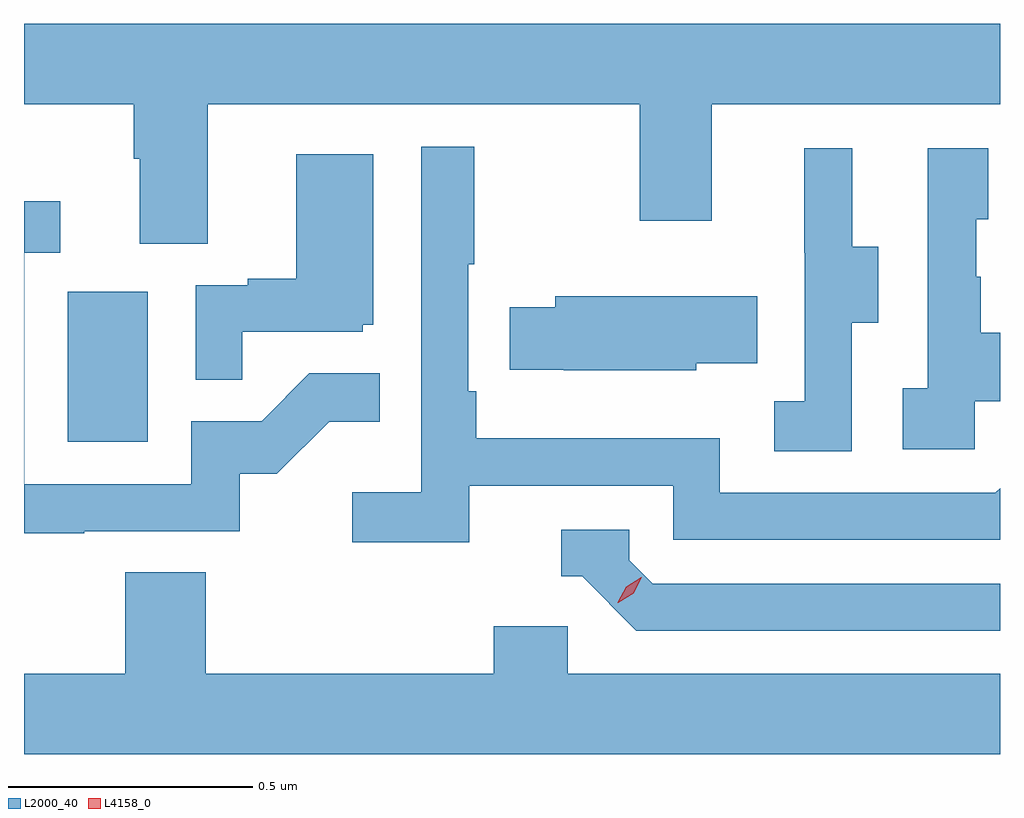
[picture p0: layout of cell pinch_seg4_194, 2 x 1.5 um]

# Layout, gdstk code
import gdstk
lib = gdstk.Library(unit=1e-6, precision=1e-09)
def R(c, l, rs):  # rectangles x0, y0, x1, y1
    for r in rs: c.add(gdstk.rectangle(r[:2], r[2:], *l))
def P(c, l, *ps):  # polygons
    for p in ps: c.add(gdstk.Polygon(p, *l))
L2000_40 = (2000, 40)
L4158_0 = (4158, 0)

pinch_seg4_194 = lib.new_cell('pinch_seg4_194')
R(pinch_seg4_194, L2000_40, [(964.076,818.772,964.24,819.079)])
P(pinch_seg4_194, L2000_40, [(964.363,819.464),(965.248,819.464),(965.248,819.225),(965.395,819.225),(965.395,819.464),(965.986,819.464),(965.986,819.628),(963.986,819.628),(963.986,819.464),(964.211,819.464),(964.211,819.352),(964.223,819.352),(964.223,819.178),(964.363,819.178)],
  [(964.898,818.682),(965.316,818.682),(965.316,818.571),(965.986,818.571),(965.986,818.677),(965.976,818.667),(965.412,818.667),(965.412,818.779),(964.913,818.779),(964.913,818.875),(964.896,818.875),(964.896,819.136),(964.909,819.136),(964.909,819.376),(964.8,819.376),(964.8,818.668),(964.659,818.668),(964.659,818.566),(964.898,818.566)],
  [(965.682,819.016),(965.737,819.016),(965.737,819.171),(965.683,819.171),(965.683,819.373),(965.585,819.373),(965.585,819.159),(965.586,819.159),(965.586,818.855),(965.523,818.855),(965.523,818.752),(965.682,818.752)],
  [(965.934,818.855),(965.986,818.855),(965.986,818.995),(965.947,818.995),(965.947,819.11),(965.937,819.11),(965.937,819.228),(965.962,819.228),(965.962,819.373),(965.838,819.373),(965.838,818.882),(965.787,818.882),(965.787,818.757),(965.934,818.757)],
  [(964.433,818.997),(964.68,818.997),(964.68,819.012),(964.702,819.012),(964.702,819.361),(964.544,819.361),(964.544,819.106),(964.445,819.106),(964.445,819.093),(964.338,819.093),(964.338,818.899),(964.433,818.899)],
  [(964.109,818.589),(964.428,818.589),(964.428,818.706),(964.504,818.706),(964.611,818.813),(964.715,818.813),(964.715,818.912),(964.571,818.912),(964.473,818.814),(964.329,818.814),(964.329,818.685),(963.987,818.685),(963.987,819.159),(964.06,819.159),(964.06,819.265),(963.986,819.265),(963.986,818.584),(964.109,818.584)],
  [(965.364,818.933),(965.489,818.933),(965.489,819.07),(965.075,819.07),(965.075,819.048),(964.981,819.048),(964.981,818.919),(965.092,818.919),(965.092,818.918),(965.364,818.918)],
  [(965.986,818.481),(965.274,818.481),(965.226,818.529),(965.226,818.592),(965.087,818.592),(965.087,818.496),(965.13,818.496),(965.241,818.385),(965.986,818.385)],
  [(965.986,818.296),(965.1,818.296),(965.1,818.394),(964.949,818.394),(964.949,818.296),(964.358,818.296),(964.358,818.504),(964.193,818.504),(964.193,818.296),(963.986,818.296),(963.986,818.132),(965.986,818.132)])
P(pinch_seg4_194, L4158_0, [(965.203,818.442),(965.203,818.443),(965.22,818.475),(965.251,818.494),(965.252,818.494),(965.252,818.494),(965.235,818.461),(965.204,818.442)])

lib.write_gds('pinch_seg4_194.gds')
